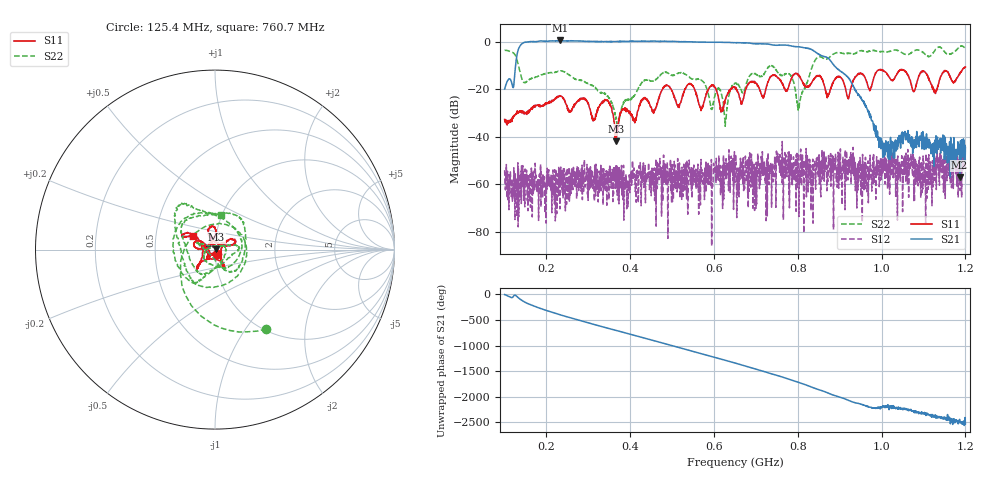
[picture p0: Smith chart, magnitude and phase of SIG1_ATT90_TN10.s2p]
# Hz S DB R 50
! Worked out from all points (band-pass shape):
!   1601 points, 100 MHz to 1.2 GHz, reference 50 ohm
!   highest |S21| = 0.61 dB at 232 MHz (marker M1); lowest = -57.0 dB at 1.186 GHz (marker M2)
!   |S21| within 3 dB of the highest: 134.6 MHz to 812.8 MHz (678.2 MHz wide, 143 % of centre)
!   lowest |S11| = -41.8 dB at 365.4 MHz (marker M3), VSWR 1.02, Z = 50.8 + j0.271 ohm
!   |S11| at or under -10 dB: start of sweep to end of sweep
!   |S22| runs from -35.7 to -1.6 dB; largest |S21 - S12| = 1.1
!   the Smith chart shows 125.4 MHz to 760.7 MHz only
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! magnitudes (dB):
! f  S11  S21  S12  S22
! 100 MHz  -32.6  -19.8  -54.0  -3.5
! 141.9 MHz  -29.2  -0.7  -61.3  -15.9
! 232 MHz  -22.6  0.6  -70.3  -12.3
! 283.6 MHz  -23.9  0.3  -53.3  -16.3
! 313.1 MHz  -32.8  0.2  -56.2  -18.7
! 346.1 MHz  -24.5  0.1  -59.6  -22.9
! 365.4 MHz  -41.8  0.1  -52.3  -32.6
! 467.1 MHz  -24.5  0.3  -53.4  -14.8
! 542.8 MHz  -17.8  0.1  -56.2  -15.2
! 567.5 MHz  -27.9  -0.1  -68.6  -15.9
! 594.3 MHz  -18.1  -0.1  -86.0  -28.4
! 611.5 MHz  -24.1  -0.1  -47.8  -19.2
! 627.3 MHz  -24.0  -0.2  -52.4  -33.6
! 650 MHz  -19.3  -0.3  -52.1  -17.5
! 717.4 MHz  -23.2  -0.9  -50.6  -14.0
! 738.7 MHz  -14.2  -1.2  -56.4  -10.1
! 801.9 MHz  -13.9  -2.1  -46.9  -28.0
! 833.6 MHz  -17.1  -3.3  -54.4  -10.9
! 920.9 MHz  -24.0  -15.0  -55.6  -4.8
! 1.017 GHz  -14.6  -43.9  -48.8  -4.1
! 1.186 GHz  -13.2  -57.0  -52.6  -1.9
! 1.2 GHz  -10.6  -44.4  -49.5  -2.9
